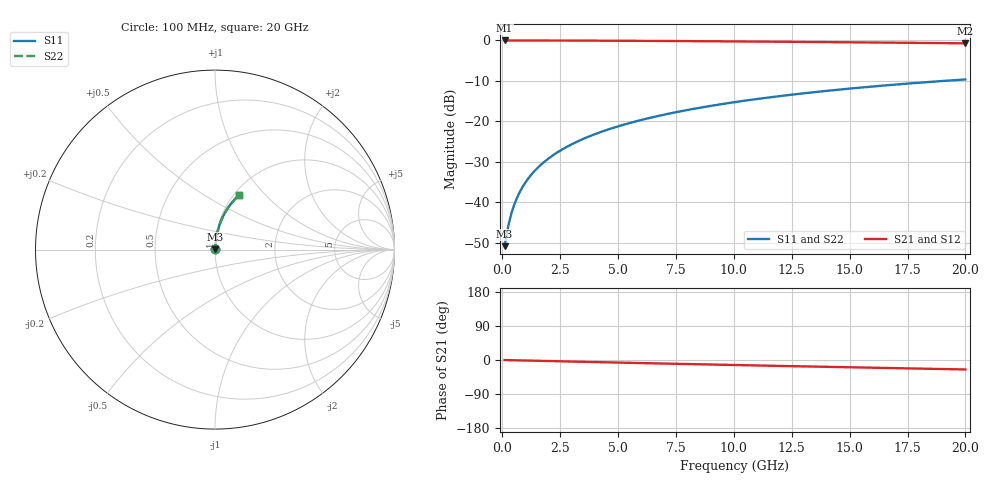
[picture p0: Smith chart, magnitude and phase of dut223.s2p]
! Touchstone file exported from HFSS 2024.1.0
!  File:  C:/UserFiles/LocalFiles/RDL_TSV_Batchsim/temp_RDL_bottom_223_1778700520.aedt
!  Generated:  03:31:28 AM May 14, 2026
!  Design:  RDL_bottom
!  Project:  temp_RDL_bottom_223_1778700520
!  Setup:  Setup1
!  Solution:  Sweep
! Variables:
!  dtsv = 10.80580581um
!  hbump = 3um
!  htsv = 54.46um
!  ldown = 270.29um
!  lrdl = 100um
!  p = 40
!  p1 = 52.54um
!  rhole = 1um
!  t = 450um
!  tdown = 4.29um
!  trdl = 3.915915916um
!  wdown = 10.2um
!  wrdl = 20um
# GHz S MA R 50.000000
! Terminal data exported
! Port[1] = RDL1_T1
! Port[2] = RDL1_T2
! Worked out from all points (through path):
!   200 points, 100 MHz to 20 GHz, reference 50 ohm
!   highest |S21| = -0.02 dB at 100 MHz (marker M1); lowest = -0.7 dB at 20 GHz (marker M2)
!   group delay of S21, straight-line fit = 3.46 ps
!   lowest |S11| = -50.8 dB at 100 MHz (marker M3), VSWR 1.01, Z = 50.2 + j0.179 ohm
!   |S11| at or under -10 dB: start of sweep to 19.07 GHz
!   |S22| runs from -50.8 to -9.6 dB; largest |S21 - S12| = 3.5e-15
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0.1  0.00289 38.0  0.9977 -0.1  0.9977 -0.1  0.00289 38.0
! Gamma 0 0 0 0
! Port Impedance 50 0 50 0
0.2  0.004236 57.0  0.9977 -0.3  0.9977 -0.3  0.004236 57.0
0.3  0.005807 66.1  0.9976 -0.4  0.9976 -0.4  0.005807 66.1
0.4  0.007453 71.2  0.9976 -0.6  0.9976 -0.6  0.007453 71.2
0.5  0.009131 74.4  0.9975 -0.7  0.9975 -0.7  0.009131 74.4
0.6  0.01083 76.5  0.9975 -0.8  0.9975 -0.8  0.01083 76.5
0.8  0.01424 79.3  0.9973 -1.1  0.9973 -1.1  0.01424 79.3
1.1  0.0194 81.5  0.9971 -1.5  0.9971 -1.5  0.0194 81.5
1.5  0.02631 82.9  0.9967 -2.1  0.9967 -2.1  0.02631 82.9
1.8  0.03151 83.4  0.9964 -2.5  0.9964 -2.5  0.03151 83.4
2.1  0.0367 83.7  0.996 -2.9  0.996 -2.9  0.0367 83.7
2.7  0.0471 83.9  0.995 -3.7  0.995 -3.7  0.0471 83.9
3.5  0.06097 83.6  0.9935 -4.8  0.9935 -4.8  0.06097 83.6
4.2  0.07308 83.2  0.9918 -5.8  0.9918 -5.8  0.07308 83.2
5  0.08692 82.6  0.9896 -6.8  0.9896 -6.8  0.08692 82.6
5.9  0.1024 81.8  0.9869 -8.0  0.9869 -8.0  0.1024 81.8
6.8  0.1179 81.0  0.9838 -9.2  0.9838 -9.2  0.1179 81.0
8.3  0.1436 79.4  0.9783 -11.1  0.9783 -11.1  0.1436 79.4
10.1  0.1741 77.5  0.9708 -13.3  0.9708 -13.3  0.174 77.5
13.4  0.2285 73.8  0.9556 -17.4  0.9556 -17.4  0.2285 73.8
16.7  0.2806 70.0  0.9385 -21.2  0.9385 -21.2  0.2806 70.0
20  0.3298 66.3  0.92 -24.9  0.92 -24.9  0.3298 66.3
